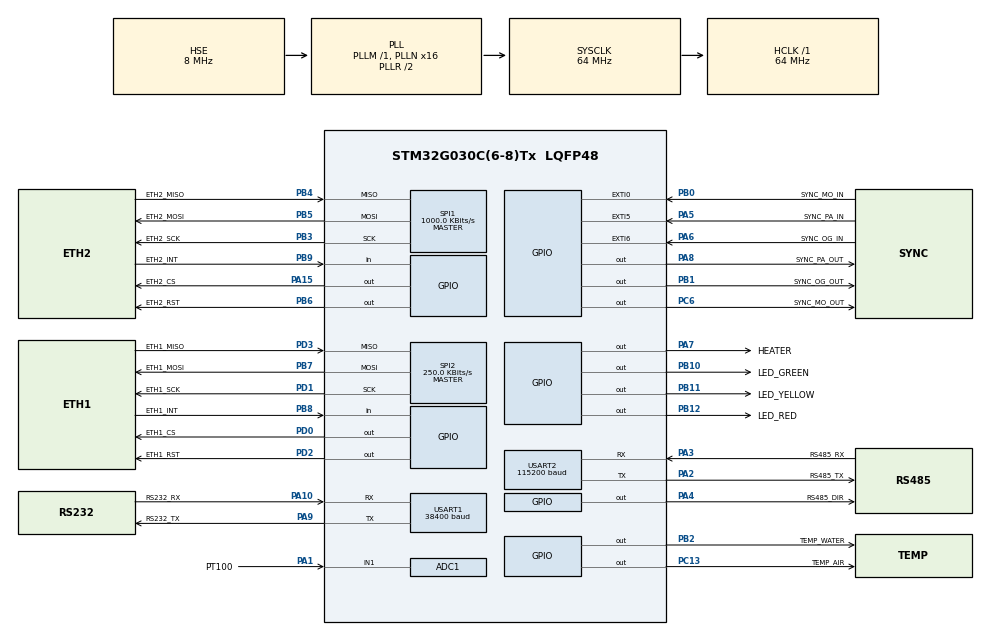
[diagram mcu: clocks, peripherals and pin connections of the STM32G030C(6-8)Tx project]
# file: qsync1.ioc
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ADC1.Channel-0\#ChannelRegularConversion=ADC_CHANNEL_1
ADC1.Channel-1\#ChannelRegularConversion=ADC_CHANNEL_1
ADC1.NbrOfConversion=2
ADC1.NbrOfConversionFlag=1
ADC1.Rank-0\#ChannelRegularConversion=1
ADC1.Rank-1\#ChannelRegularConversion=2
ADC1.SamplingTime-0\#ChannelRegularConversion=ADC_SAMPLINGTIME_COMMON_1
ADC1.SamplingTime-1\#ChannelRegularConversion=ADC_SAMPLINGTIME_COMMON_1
ADC1.SamplingTimeCommon1=ADC_SAMPLETIME_160CYCLES_5
ADC1.SelectedChannel=ADC_CHANNEL_1
ADC1.master=1
Dma.ADC1.1.Direction=DMA_PERIPH_TO_MEMORY
Dma.ADC1.1.EventEnable=DISABLE
Dma.ADC1.1.Instance=DMA1_Channel2
Dma.ADC1.1.MemDataAlignment=DMA_MDATAALIGN_HALFWORD
Dma.ADC1.1.MemInc=DMA_MINC_ENABLE
Dma.ADC1.1.Mode=DMA_NORMAL
Dma.ADC1.1.PeriphDataAlignment=DMA_PDATAALIGN_HALFWORD
Dma.ADC1.1.PeriphInc=DMA_PINC_DISABLE
Dma.ADC1.1.Polarity=HAL_DMAMUX_REQ_GEN_RISING
Dma.ADC1.1.Priority=DMA_PRIORITY_LOW
Dma.ADC1.1.RequestNumber=1
Dma.ADC1.1.SignalID=NONE
Dma.ADC1.1.SyncEnable=DISABLE
Dma.ADC1.1.SyncPolarity=HAL_DMAMUX_SYNC_NO_EVENT
Dma.ADC1.1.SyncRequestNumber=1
Dma.ADC1.1.SyncSignalID=NONE
Dma.Request0=USART2_RX
Dma.Request1=ADC1
Dma.USART2_RX.0.Direction=DMA_PERIPH_TO_MEMORY
Dma.USART2_RX.0.EventEnable=DISABLE
Dma.USART2_RX.0.Instance=DMA1_Channel1
Dma.USART2_RX.0.MemDataAlignment=DMA_MDATAALIGN_BYTE
Dma.USART2_RX.0.MemInc=DMA_MINC_ENABLE
Dma.USART2_RX.0.Mode=DMA_NORMAL
Dma.USART2_RX.0.PeriphDataAlignment=DMA_PDATAALIGN_BYTE
Dma.USART2_RX.0.PeriphInc=DMA_PINC_DISABLE
Dma.USART2_RX.0.Polarity=HAL_DMAMUX_REQ_GEN_RISING
Dma.USART2_RX.0.Priority=DMA_PRIORITY_HIGH
Dma.USART2_RX.0.RequestNumber=1
Dma.USART2_RX.0.SignalID=NONE
Dma.USART2_RX.0.SyncEnable=DISABLE
Dma.USART2_RX.0.SyncPolarity=HAL_DMAMUX_SYNC_NO_EVENT
Dma.USART2_RX.0.SyncRequestNumber=1
Dma.USART2_RX.0.SyncSignalID=NONE
Mcu.Family=STM32G0
Mcu.Name=STM32G030C(6-8)Tx
Mcu.Package=LQFP48
NVIC.DMA1_Channel1_IRQn=true\:0\:0\:false\:false\:true\:false\:true\:true
NVIC.DMA1_Channel2_3_IRQn=true\:0\:0\:false\:false\:true\:false\:true\:true
NVIC.EXTI0_1_IRQn=true\:0\:0\:false\:false\:true\:true\:true\:true
NVIC.EXTI4_15_IRQn=true\:0\:0\:false\:false\:true\:true\:true\:true
NVIC.SPI1_IRQn=true\:0\:0\:false\:false\:true\:true\:true\:true
NVIC.SPI2_IRQn=true\:0\:0\:false\:false\:true\:true\:true\:true
NVIC.TIM14_IRQn=true\:0\:0\:false\:false\:true\:true\:true\:true
NVIC.TIM16_IRQn=true\:0\:0\:false\:false\:true\:true\:true\:true
NVIC.TIM17_IRQn=true\:0\:0\:false\:false\:true\:true\:true\:true
NVIC.TIM1_BRK_UP_TRG_COM_IRQn=true\:0\:0\:false\:false\:true\:true\:true\:true
NVIC.USART1_IRQn=true\:0\:0\:false\:false\:true\:true\:true\:true
NVIC.USART2_IRQn=true\:0\:0\:false\:false\:true\:true\:true\:true
PA1.GPIO_Label=PT100
PA1.Mode=IN1
PA1.Signal=ADC1_IN1
PA10.GPIO_Label=RS232_RX
PA10.Mode=Asynchronous
PA10.Signal=USART1_RX
PA13.Mode=Serial_Wire
PA13.Signal=SYS_SWDIO
PA14-BOOT0.Mode=Serial_Wire
PA14-BOOT0.Signal=SYS_SWCLK
PA15.GPIO_Label=ETH2_CS
PA15.PinState=GPIO_PIN_SET
PA15.Signal=GPIO_Output
PA2.GPIO_Label=RS485_TX
PA2.Mode=Asynchronous
PA2.Signal=USART2_TX
PA3.GPIO_Label=RS485_RX
PA3.Mode=Asynchronous
PA3.Signal=USART2_RX
PA4.GPIO_Label=RS485_DIR
PA4.Signal=GPIO_Output
PA5.GPIO_Label=SYNC_PA_IN
PA5.Signal=GPXTI5
PA6.GPIO_Label=SYNC_OG_IN
PA6.Signal=GPXTI6
PA7.GPIO_Label=HEATER
PA7.Signal=GPIO_Output
PA8.GPIO_Label=SYNC_PA_OUT
PA8.Signal=GPIO_Output
PA9.GPIO_Label=RS232_TX
PA9.Mode=Asynchronous
PA9.Signal=USART1_TX
PB0.GPIO_Label=SYNC_MO_IN
PB0.Signal=GPXTI0
PB1.GPIO_Label=SYNC_OG_OUT
PB1.Signal=GPIO_Output
PB10.GPIO_Label=LED_GREEN
PB10.Signal=GPIO_Output
PB11.GPIO_Label=LED_YELLOW
PB11.Signal=GPIO_Output
PB12.GPIO_Label=LED_RED
PB12.Signal=GPIO_Output
PB2.GPIO_Label=TEMP_WATER
PB2.GPIO_ModeDefaultOutputPP=GPIO_MODE_OUTPUT_OD
PB2.GPIO_PuPd=GPIO_NOPULL
PB2.Signal=GPIO_Output
PB3.GPIO_Label=ETH2_SCK
PB3.Mode=Full_Duplex_Master
PB3.Signal=SPI1_SCK
PB4.GPIO_Label=ETH2_MISO
PB4.Mode=Full_Duplex_Master
PB4.Signal=SPI1_MISO
PB5.GPIO_Label=ETH2_MOSI
PB5.Mode=Full_Duplex_Master
PB5.Signal=SPI1_MOSI
PB6.GPIO_Label=ETH2_RST
PB6.PinState=GPIO_PIN_SET
PB6.Signal=GPIO_Output
PB7.GPIO_Label=ETH1_MOSI
PB7.Mode=Full_Duplex_Master
PB7.Signal=SPI2_MOSI
PB8.GPIO_Label=ETH1_INT
PB8.Signal=GPIO_Input
PB9.GPIO_Label=ETH2_INT
PB9.Signal=GPIO_Input
PC13.GPIO_Label=TEMP_AIR
PC13.GPIO_ModeDefaultOutputPP=GPIO_MODE_OUTPUT_OD
PC13.GPIO_PuPd=GPIO_NOPULL
PC13.Signal=GPIO_Output
PC6.GPIO_Label=SYNC_MO_OUT
PC6.Signal=GPIO_Output
PD0.GPIO_Label=ETH1_CS
PD0.PinState=GPIO_PIN_SET
PD0.Signal=GPIO_Output
PD1.GPIO_Label=ETH1_SCK
PD1.Mode=Full_Duplex_Master
PD1.Signal=SPI2_SCK
PD2.GPIO_Label=ETH1_RST
PD2.PinState=GPIO_PIN_SET
PD2.Signal=GPIO_Output
PD3.GPIO_Label=ETH1_MISO
PD3.Mode=Full_Duplex_Master
PD3.Signal=SPI2_MISO
PF0-OSC_IN\ (PF0).Mode=HSE-External-Oscillator
PF0-OSC_IN\ (PF0).Signal=RCC_OSC_IN
PF1-OSC_OUT\ (PF1).Mode=HSE-External-Oscillator
PF1-OSC_OUT\ (PF1).Signal=RCC_OSC_OUT
ProjectManager.HeapSize=0x200
ProjectManager.StackSize=0x400
ProjectManager.TargetToolchain=STM32CubeIDE
RCC.ADCFreq_Value=64000000
RCC.AHBFreq_Value=64000000
RCC.CortexFreq_Value=64000000
RCC.EXTERNAL_CLOCK_VALUE=12288000
RCC.HCLKFreq_Value=64000000
RCC.HSE_VALUE=8000000
RCC.HSI_VALUE=16000000
RCC.LSE_VALUE=32768
RCC.PLLN=16
RCC.PLLSourceVirtual=RCC_PLLSOURCE_HSE
RCC.SYSCLKFreq_VALUE=64000000
RCC.SYSCLKSource=RCC_SYSCLKSOURCE_PLLCLK
RCC.VCOOutputFreq_Value=128000000
SPI1.BaudRatePrescaler=SPI_BAUDRATEPRESCALER_64
SPI1.CalculateBaudRate=1000.0 KBits/s
SPI1.Direction=SPI_DIRECTION_2LINES
SPI1.Mode=SPI_MODE_MASTER
SPI1.VirtualType=VM_MASTER
SPI2.BaudRatePrescaler=SPI_BAUDRATEPRESCALER_256
SPI2.CalculateBaudRate=250.0 KBits/s
SPI2.Direction=SPI_DIRECTION_2LINES
SPI2.Mode=SPI_MODE_MASTER
SPI2.VirtualType=VM_MASTER
TIM1.Period=1000
TIM1.Prescaler=63999
TIM14.Period=5
TIM14.Prescaler=63
TIM16.Period=5
TIM16.Prescaler=63
TIM17.Period=250
TIM17.Prescaler=63
USART1.BaudRate=38400
USART1.VirtualMode-Asynchronous=VM_ASYNC
USART2.BaudRate=115200
USART2.VirtualMode-Asynchronous=VM_ASYNC
VP_TIM14_VS_ClockSourceINT.Mode=Enable_Timer
VP_TIM16_VS_ClockSourceINT.Mode=Enable_Timer
VP_TIM17_VS_ClockSourceINT.Mode=Enable_Timer
VP_TIM1_VS_ClockSourceINT.Mode=Internal
board=custom

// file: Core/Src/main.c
/* USER CODE BEGIN Header */
/**
  ******************************************************************************
  * @file           : main.c
  * @brief          : Main program body
  ******************************************************************************
  * @attention
  *
  * Copyright (c) 2023 STMicroelectronics.
  * All rights reserved.
  *
  * This software is licensed under terms that can be found in the LICENSE file
  * in the root directory of this software component.
  * If no LICENSE file comes with this software, it is provided AS-IS.
  *
  ******************************************************************************
  */
/* USER CODE END Header */
#include "main.h"
#include "adc.h"
#include "dma.h"
#include "spi.h"
#include "tim.h"
#include "usart.h"
#include "gpio.h"

/* USER CODE BEGIN Includes */
#include "controlSystem.h"
#include "w5100s.h"
#include "PULD.h"
#include "controlSystem.h"
#include "ds18b20.h"
#include "dht22.h"
/* USER CODE END Includes */

/* USER CODE BEGIN PD */
//#define TIME_STAB 60
//#define TIME_TEMP_STAB 60

#define TIME_STAB 0
#define TIME_TEMP_STAB 0
/////////////
#define BUFFER_SIZE 20
/////////////
//#define TIME_ERROR 1800
/* USER CODE END PD */

void SystemClock_Config(void);

/* USER CODE BEGIN 0 */

W5100s PPU1;
W5100s PPU2;
t_PULD PULD;
t_CS CS;

TEMP_WATER temp_water;
TEMP_AIR temp_air;

uint8_t WorkPeriodFlag; // взводится раз в секунду таймером

uint32_t count_temp_stab = 0;
uint32_t count_stab = 0;
uint32_t count_temp_error = 20;

uint8_t flag_temp_stab = 0;
uint8_t flag_stab = 0;

uint8_t mainStatus[12] = {0, };

////////////////////////////////////
uint8_t receive_buff[20];
////////////////////////////////////
/* USER CODE END 0 */

int main(void)
{

  /* MCU Configuration--------------------------------------------------------*/

  /* Reset of all peripherals, Initializes the Flash interface and the Systick. */
  HAL_Init();

  /* Configure the system clock */
  SystemClock_Config();

  /* Initialize all configured peripherals */
  MX_GPIO_Init();
  MX_DMA_Init();
  MX_SPI1_Init();
  MX_SPI2_Init();
  MX_USART1_UART_Init();
  MX_USART2_UART_Init();
  MX_TIM17_Init();
  MX_TIM14_Init();
  MX_TIM16_Init();
  MX_TIM1_Init();
  MX_ADC1_Init();
  /* USER CODE BEGIN 2 */

  config_PPU_S();

  PULD_init(&PULD, &huart1);

  ds18b20_init();
  dht22_init();

  CS_init(&CS, &huart2);

	HAL_TIM_Base_Start_IT(&htim1); // запуск таймера

	__HAL_UART_ENABLE_IT(&huart2, UART_IT_IDLE);

	HAL_UART_Receive_DMA(&huart2, (uint8_t*)receive_buff, 20);

  /* USER CODE END 2 */

  /* Infinite loop */
  /* USER CODE BEGIN WHILE */
  while (1)
  {
	  if(WorkPeriodFlag == 1)
	  {

		  WorkPeriodFlag = 0;

		  check_MainStatus(&CS); // проверяем статус зг и системы управления в целом

		  w5100s_readMsg(&PPU1); 	// есть ли ответ от блока питания накачки 1
		  w5100s_readMsg(&PPU2);	// есть ли ответ от блока питания накачки 2

		  // -------- temp water -----------////
		  tempWater_getData();
		  // -------- temp water -----------////

		  // -------------- temp air -----------//
		  tempAir_getData();
		  // -------------- temp air -----------//

		  // ---------- обработка времени общей стабилизации ---- //
		  if(count_stab >= TIME_STAB)
		  {
			  flag_stab = 1; // общая стабилизация ОК
		  }
		  count_stab++; // считаем каждую секунду

		  // ------ проверяем, есть ли коннект, если нет, взводим бит ошибки--------//
		  PULD_checkConnectTime(&PULD);

		  w5100s_checkConnectTime(&PPU1);
		  w5100s_checkConnectTime(&PPU1);

		  w5100s_getStatus(&PPU1); 	// отправляем запрос статуса на блок питания накачки 1
		  w5100s_getStatus(&PPU2);	// отправляем запрос статуса на блок питания накачки 2

		  PULD_getStatus(&PULD);	// отправляем запрос статуса на ЗГ

		  /*	проверка на наличие ошибок датчиков, общей стабилизации, общей ошибки системы управления
		   *
		  if ((!flag_stab || CS.error || temp_air.hum_error ||
		  				temp_air.temp_error || temp_water.error) && ((CS.mode == 1) || (CS.mode == 2)))
		  {
			  CS_changeMode(0); // переход в режим 0, если есть ошибки
		  }

		  */

		  changeLeds(); 	// поменять светодиоды в зависимости от текущего режима

	  }
	  CS_Pulse_On(); 			// включить импульсы блоков накачки через 6 сек, если была команда включения питания
	  PULD_checkMsg(&PULD);		//  проверяем, был ли ответ от ЗГ
	  CS_checkMsg(&CS);			// проверяем, была ли команда от АРМ

    /* USER CODE END WHILE */

  }
}

void SystemClock_Config(void)
{
  RCC_OscInitTypeDef RCC_OscInitStruct = {0};
  RCC_ClkInitTypeDef RCC_ClkInitStruct = {0};

  /** Configure the main internal regulator output voltage
  */
  HAL_PWREx_ControlVoltageScaling(PWR_REGULATOR_VOLTAGE_SCALE1);

  /** Initializes the RCC Oscillators according to the specified parameters
  * in the RCC_OscInitTypeDef structure.
  */
  RCC_OscInitStruct.OscillatorType = RCC_OSCILLATORTYPE_HSE;
  RCC_OscInitStruct.HSEState = RCC_HSE_ON;
  RCC_OscInitStruct.PLL.PLLState = RCC_PLL_ON;
  RCC_OscInitStruct.PLL.PLLSource = RCC_PLLSOURCE_HSE;
  RCC_OscInitStruct.PLL.PLLM = RCC_PLLM_DIV1;
  RCC_OscInitStruct.PLL.PLLN = 16;
  RCC_OscInitStruct.PLL.PLLP = RCC_PLLP_DIV2;
  RCC_OscInitStruct.PLL.PLLR = RCC_PLLR_DIV2;
  if (HAL_RCC_OscConfig(&RCC_OscInitStruct) != HAL_OK)
  {
    Error_Handler();
  }

  /** Initializes the CPU, AHB and APB buses clocks
  */
  RCC_ClkInitStruct.ClockType = RCC_CLOCKTYPE_HCLK|RCC_CLOCKTYPE_SYSCLK
                              |RCC_CLOCKTYPE_PCLK1;
  RCC_ClkInitStruct.SYSCLKSource = RCC_SYSCLKSOURCE_PLLCLK;
  RCC_ClkInitStruct.AHBCLKDivider = RCC_SYSCLK_DIV1;
  RCC_ClkInitStruct.APB1CLKDivider = RCC_HCLK_DIV1;

  if (HAL_RCC_ClockConfig(&RCC_ClkInitStruct, FLASH_LATENCY_2) != HAL_OK)
  {
    Error_Handler();
  }
}

/* USER CODE BEGIN 4 */

void changeLeds()
{
	if (CS.mode == 0) // дежурный
	{
		  HAL_GPIO_WritePin(LED_GREEN_GPIO_Port, LED_GREEN_Pin, SET);
		  HAL_GPIO_WritePin(LED_YELLOW_GPIO_Port, LED_YELLOW_Pin, RESET);
		  HAL_GPIO_WritePin(LED_RED_GPIO_Port, LED_RED_Pin, RESET);
	}
	else if (CS.mode == 1) // подготовка
	{
		  HAL_GPIO_WritePin(LED_GREEN_GPIO_Port, LED_GREEN_Pin, RESET);
		  HAL_GPIO_WritePin(LED_YELLOW_GPIO_Port, LED_YELLOW_Pin, SET);
		  HAL_GPIO_WritePin(LED_RED_GPIO_Port, LED_RED_Pin, RESET);
	}
	else if (CS.mode == 2) // рабочий
	{
		  HAL_GPIO_WritePin(LED_GREEN_GPIO_Port, LED_GREEN_Pin, RESET);
		  HAL_GPIO_WritePin(LED_YELLOW_GPIO_Port, LED_YELLOW_Pin, RESET);
		  HAL_GPIO_WritePin(LED_RED_GPIO_Port, LED_RED_Pin, SET);
	}

}

void config_PPU_S()
{
	 w5100s_init(&hspi2, &PPU1,
	  		  ETH1_MISO_GPIO_Port, ETH1_MISO_Pin,
	  		  ETH1_MOSI_GPIO_Port, ETH1_MOSI_Pin,
	  		  ETH1_RST_GPIO_Port, ETH1_RST_Pin,
	  		  ETH1_SCK_GPIO_Port, ETH1_SCK_Pin,
	  		  ETH1_INT_GPIO_Port, ETH1_INT_Pin,
	  		  ETH1_CS_GPIO_Port, ETH1_CS_Pin);

	    w5100s_init(&hspi1, &PPU2,
	  		  ETH2_MISO_GPIO_Port, ETH2_MISO_Pin,
	  		  ETH2_MOSI_GPIO_Port, ETH2_MOSI_Pin,
	  		  ETH2_RST_GPIO_Port, ETH2_RST_Pin,
	  		  ETH2_SCK_GPIO_Port, ETH2_SCK_Pin,
	  		  ETH2_INT_GPIO_Port, ETH2_INT_Pin,
	  		  ETH2_CS_GPIO_Port, ETH2_CS_Pin);

		// ip 192.168.10.5
	    PPU1.dest_ip[0] = 192; PPU1.dest_ip[1] = 168; PPU1.dest_ip[2] = 10; PPU1.dest_ip[3] = 5;
		// port 60 000
	    PPU1.dest_port[0] = 0xEA; PPU1.dest_port[1] = 0x60;

		// ip 192.168.10.6
		PPU2.dest_ip[0] = 192; PPU2.dest_ip[1] = 168; PPU2.dest_ip[2] = 10; PPU2.dest_ip[3] = 6;
		// port 60 000
		PPU2.dest_port[0] = 0xEA; PPU2.dest_port[1] = 0x60;

		w5100s_setDest(&PPU1);
		w5100s_setDest(&PPU2);
}

void HAL_GPIO_EXTI_Rising_Callback(uint16_t GPIO_Pin)
{	// смотрим, какой синхроимпульс пришел
	if(GPIO_Pin == SYNC_MO_IN_Pin)
	{
		HAL_GPIO_WritePin(SYNC_MO_OUT_GPIO_Port, SYNC_MO_OUT_Pin, SET);
		HAL_TIM_Base_Start_IT(&htim14); // запускаем таймер 14
	}
	else if(GPIO_Pin == SYNC_OG_IN_Pin)
	{
		HAL_GPIO_WritePin(SYNC_OG_OUT_GPIO_Port, SYNC_OG_OUT_Pin, SET);
		HAL_TIM_Base_Start_IT(&htim16); // запускаем таймер 16
	}
	else if(GPIO_Pin == SYNC_PA_IN_Pin)
	{
		HAL_GPIO_WritePin(SYNC_PA_OUT_GPIO_Port, SYNC_PA_OUT_Pin, SET);
		HAL_TIM_Base_Start_IT(&htim17); // запускаем таймер 17
	}
}

void HAL_TIM_PeriodElapsedCallback(TIM_HandleTypeDef *htim)
{

	if(htim == &htim14) // блок зг 5 мкс
	{
		HAL_GPIO_WritePin(SYNC_MO_OUT_GPIO_Port, SYNC_MO_OUT_Pin, RESET);
		HAL_TIM_Base_Stop_IT(&htim14);
	}
	else if(htim ==  &htim16) // генерация 5мкс
	{
		HAL_GPIO_WritePin(SYNC_OG_OUT_GPIO_Port, SYNC_OG_OUT_Pin, RESET);
		HAL_TIM_Base_Stop_IT(&htim16);
	}
	else if(htim == &htim17) // блок накачки 250 мкс
	{
		HAL_GPIO_WritePin(SYNC_PA_OUT_GPIO_Port, SYNC_PA_OUT_Pin, RESET);
		HAL_TIM_Base_Stop_IT(&htim17);
	}
}

void HAL_UART_RxCpltCallback(UART_HandleTypeDef *huart)
{
	if(huart == CS.uart)
	{
		//CS.newMsg = 1;
		//HAL_UART_Receive_IT(CS.uart, CS.buff, 6);
	}

	if(huart == PULD.uart)
	{
		PULD.newMsg = 1;
		HAL_UART_Receive_IT(PULD.uart, PULD.buff, 6);
	}
}

void HAL_UART_ErrorCallback(UART_HandleTypeDef *huart)
{

}

/* USER CODE END 4 */

void Error_Handler(void)
{
  __disable_irq();
  while (1)
  {
  }
}
